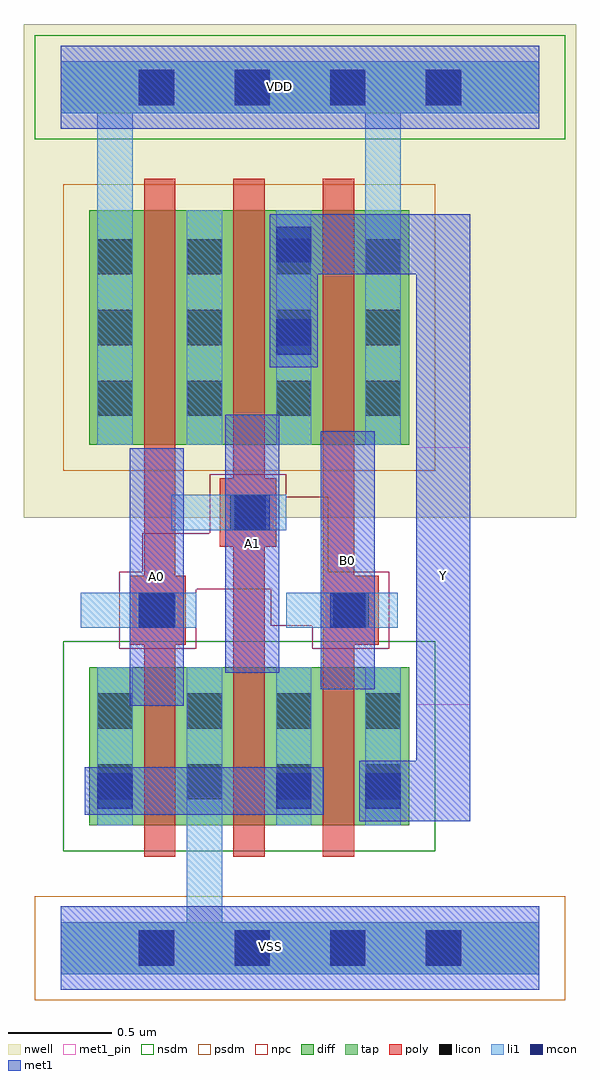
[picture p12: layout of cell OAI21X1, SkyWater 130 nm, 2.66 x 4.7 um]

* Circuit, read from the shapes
.subckt OAI21X1 A0 A1 B0 VDD VSS Y
XM1 VSS A0 n1 VSS sky130_fd_pr__nfet_01v8 w=0.76 l=0.15
XM2 n1 A1 VSS VSS sky130_fd_pr__nfet_01v8 w=0.76 l=0.15
XM3 Y B0 n1 VSS sky130_fd_pr__nfet_01v8 w=0.76 l=0.15
XM4 n2 A0 VDD VDD sky130_fd_pr__pfet_01v8 w=1.13 l=0.15
XM5 Y A1 n2 VDD sky130_fd_pr__pfet_01v8 w=1.13 l=0.15
XM6 VDD B0 Y VDD sky130_fd_pr__pfet_01v8 w=1.13 l=0.15
.ends

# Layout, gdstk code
import gdstk
lib = gdstk.Library(unit=1e-6, precision=1e-09)
def R(c, l, rs):  # rectangles x0, y0, x1, y1
    for r in rs: c.add(gdstk.rectangle(r[:2], r[2:], *l))
def A(c, l, x, y, w, h, nx, ny, dx, dy):  # array of equal rectangles
    R(c, l, [(x+i*dx, y+j*dy, x+i*dx+w, y+j*dy+h) for i in range(nx) for j in range(ny)])
nwell = (64, 20)
diff = (65, 20)
tap = (65, 44)
poly = (66, 20)
licon = (66, 44)
li1 = (67, 20)
mcon = (67, 44)
met1_pin = (68, 16)
met1 = (68, 20)
nsdm = (93, 44)
psdm = (94, 20)
npc = (95, 20)

oai21x1 = lib.new_cell('OAI21X1')
R(oai21x1, nwell, [(-0.18,2.07,2.48,4.445)])
R(oai21x1, diff, [(0.135,0.59,1.675,1.35), (0.135,2.42,1.675,3.55)])
R(oai21x1, tap, [(0,-0.125,2.3,0.125), (0,4.015,2.3,4.265)])
R(oai21x1, poly, [(0.4,0.44,0.55,1.46), (0.83,0.44,0.98,1.93), (1.26,0.44,1.41,1.46), (0.33,1.46,0.6,1.79), (1.26,1.46,1.53,1.79), (0.4,1.79,0.55,3.7), (1.26,1.79,1.41,3.7), (0.765,1.93,1.035,2.26), (0.83,2.26,0.98,3.7)])
A(oai21x1, licon, 0.375, -0.085, 0.17, 0.17, 4, 2, 0.46, 4.14)
A(oai21x1, licon, 0.175, 0.715, 0.17, 0.17, 4, 2, 0.43, 0.34)
A(oai21x1, licon, 0.175, 2.56, 0.17, 0.17, 4, 3, 0.43, 0.34)
R(oai21x1, licon, [(0.38,1.54,0.55,1.71), (1.31,1.54,1.48,1.71), (0.815,2.01,0.985,2.18)])
R(oai21x1, li1, [(0,-0.125,2.3,0.125), (0.605,0.125,0.775,1.35), (0.175,0.59,0.345,1.35), (1.035,0.59,1.205,1.35), (1.465,0.59,1.635,1.35), (0.095,1.54,0.65,1.71), (1.085,1.54,1.62,1.71), (0.53,2.01,1.085,2.18), (0.175,2.42,0.345,4.015), (0.605,2.42,0.775,3.55), (1.035,2.42,1.205,3.55), (1.465,2.42,1.635,4.015), (0,4.015,2.3,4.265)])
A(oai21x1, mcon, 0.375, -0.085, 0.17, 0.17, 4, 2, 0.46, 4.14)
R(oai21x1, mcon, [(0.175,0.67,0.345,0.84), (1.035,0.67,1.205,0.84), (1.465,0.67,1.635,0.84), (0.375,1.54,0.545,1.71), (1.295,1.54,1.465,1.71), (0.835,2.01,1.005,2.18), (1.035,2.855,1.205,3.025), (1.035,3.3,1.205,3.47)])
R(oai21x1, met1_pin, [(0.33,1.165,0.59,2.405), (1.71,1.17,1.97,2.41), (1.25,1.245,1.51,2.485), (0.79,1.325,1.05,2.565)])
R(oai21x1, met1, [(0,-0.2,2.3,0.2), (1.435,0.61,1.97,0.9), (0.115,0.64,1.265,0.87), (1.71,0.9,1.97,3.24), (0.33,1.165,0.59,2.405), (1.25,1.245,1.51,2.485), (0.79,1.325,1.05,2.565), (1.005,2.795,1.235,3.24), (1.005,3.24,1.97,3.53), (0,3.94,2.3,4.34)])
R(oai21x1, nsdm, [(0.01,0.465,1.8,1.475), (-0.125,3.89,2.425,4.39)])
R(oai21x1, psdm, [(-0.125,-0.25,2.425,0.25), (0.01,2.295,1.8,3.675)])
R(oai21x1, npc, [(0.28,1.44,0.65,1.725), (1.21,1.44,1.58,1.55), (1.01,1.55,1.58,1.725), (0.28,1.725,1.58,1.81), (0.39,1.81,1.285,1.995), (0.715,1.995,1.285,2.17), (0.715,2.17,1.085,2.28)])
oai21x1.add(gdstk.Label('VSS', (1.01,0.005), layer=68, texttype=5))
oai21x1.add(gdstk.Label('VDD', (1.05,4.145), layer=68, texttype=5))
oai21x1.add(gdstk.Label('A1', (0.92,1.945), layer=68, texttype=5))
oai21x1.add(gdstk.Label('A0', (0.46,1.785), layer=68, texttype=5))
oai21x1.add(gdstk.Label('B0', (1.38,1.865), layer=68, texttype=5))
oai21x1.add(gdstk.Label('Y', (1.84,1.79), layer=68, texttype=5))

lib.write_gds('OAI21X1.gds')
